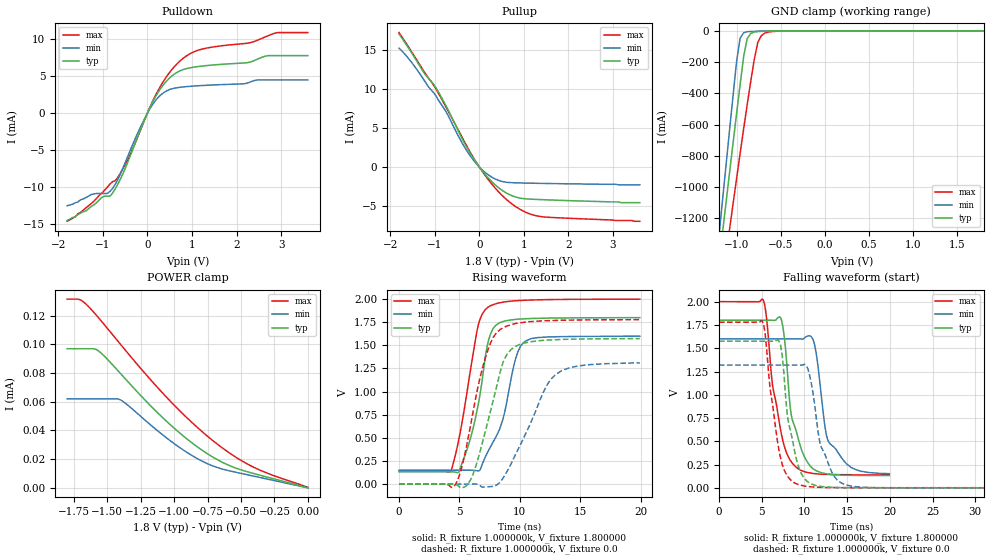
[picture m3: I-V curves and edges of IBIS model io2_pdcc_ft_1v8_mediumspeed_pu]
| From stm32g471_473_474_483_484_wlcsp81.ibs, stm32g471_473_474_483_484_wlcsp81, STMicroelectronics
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|   Model io2_pdcc_ft_1v8_mediumspeed_pu
[Model]  io2_pdcc_ft_1v8_mediumspeed_pu
Model_type I/O
Polarity   Non-Inverting
Enable   Active-Low
Vinl =   0.540000V
Vinh =   1.260000V
Vmeas =  0.900000V
Cref =   50.000000pF
Rref =   100.000000M
Vref =   0.0V
C_comp   4.367000pF   3.639100pF   5.105000pF
[Temperature Range]   25.000000   -40.000000   0.125000k
[Pullup Reference]   1.800000V   1.600000V   2.000000V
[Pulldown Reference]   0.0V   0.0V   0.0V
[POWER Clamp Reference]   1.800000V   1.600000V   2.000000V
[GND Clamp Reference]   0.0V   0.0V   0.0V
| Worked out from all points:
|   slope of the pulldown table from 0 to 0.27 V, typ, clamps not added: 87.5 ohm
|   slope of the pullup table from 0 to 0.27 V, typ, clamps not added: 147 ohm
|   GND clamp passes 1 mA (typ) near -0.58 V on its own axis
|   rising waveform, R_fixture 1.000000k, V_fixture 1.800000: 20-80 % time 1.41ns typ, 1.83ns min, 1.42ns max; typ from 0.134 V to 1.8 V
|   rising waveform, R_fixture 1.000000k, V_fixture 0.0: 20-80 % time 1.85ns typ, 2.73ns min, 1.79ns max; typ from 0.003 V to 1.57 V
|   falling waveform, R_fixture 1.000000k, V_fixture 1.800000: 20-80 % time 1.66ns typ, 1.82ns min, 1.69ns max; typ from 1.8 V to 0.135 V
|   falling waveform, R_fixture 1.000000k, V_fixture 0.0: 20-80 % time 1.48ns typ, 1.85ns min, 1.49ns max; typ from 1.57 V to 0.003 V
[Pulldown]
|Voltage   I(typ)   I(min)   I(max)
-1.8V     -14.5mA    -12.5mA    -14.6mA
-1.2V     -12.4mA    -10.9mA    -11.9mA
-900mV    -11.21mA   -10.84mA   -10mA
-780mV    -10.79mA   -10.16mA   -9.24mA
-480mV    -7.221mA   -6.409mA   -6.723mA
60mV      806.2uA    646.5uA    843.8uA
300mV     3.356mA    2.463mA    3.703mA
600mV     5.259mA    3.369mA    6.249mA
1.2V      6.348mA    3.729mA    8.613mA
2.28V     6.865mA    4.146mA    9.489mA
2.88V     7.774mA    4.487mA    10.84mA
3.6V      7.774mA    4.487mA    10.89mA
[Pullup]
|Voltage   I(typ)   I(min)   I(max)
-1.8V     17.12mA    15.3mA     17.31mA
-1.56V    15.09mA    13.78mA    15.21mA
-1.26V    12.29mA    11.38mA    12.49mA
-960mV    10.09mA    9.035mA    9.929mA
-720mV    7.582mA    6.864mA    7.438mA
-360mV    3.374mA    2.844mA    3.538mA
-120mV    1.005mA    795.6uA    1.089mA
180mV     -1.289mA   -926.4uA   -1.468mA
480mV     -2.883mA   -1.823mA   -3.482mA
900mV     -3.994mA   -2.057mA   -5.412mA
1.32V     -4.191mA   -2.109mA   -6.335mA
3.6V      -4.6mA     -2.3mA     -7mA
[GND_clamp]
|Voltage   I(typ)   I(min)   I(max)
-1.8V     -4.43A     -4.747A    -4.297A
-1.2V     -1.489A    -1.316A    -1.768A
-1.16V    -1.295A    -1.089A    -1.601A
-1.12V    -1.102A    -863.2mA   -1.436A
-1.08V    -909.8mA   -638.7mA   -1.271A
-1V       -530.7mA   -197.2mA   -945.5mA
-960mV    -345.6mA   -47.17mA   -785.2mA
-920mV    -166mA     -12.66mA   -627.5mA
-880mV    -50.53mA   -5.875mA   -473.7mA
-760mV    -4.783mA   -2.396mA   -75.32mA
-680mV    -2.529mA   -1.097mA   -14.51mA
1.8V      0A         0A         305.1nA
[POWER_clamp]
|Voltage   I(typ)   I(min)   I(max)
-1.8V     96.87uA    61.96uA    131.4uA
-1.7V     96.87uA    61.96uA    130.9uA
-1.58V    96.27uA    61.96uA    120uA
-1.52V    91.51uA    61.96uA    113.4uA
-1.4V     79.51uA    61.23uA    99.84uA
-1.18V    57.56uA    44.16uA    75.7uA
-1V       41.57uA    30.8uA     57.62uA
-820mV    28.11uA    20.04uA    41.55uA
-680mV    19.79uA    14.23uA    30.67uA
-560mV    14.52uA    11.29uA    22.65uA
-400mV    9.851uA    8.07uA     14.13uA
0V        0A         0A         360.1nA
[Ramp]
| variable   typ   min   max
dV/dt_r  1.06445/1.78033n   0.94226/2.15921n   1.18375/1.72341n
dV/dt_f  1.07041/1.79699n   0.94990/1.80863n   1.18921/1.90000n
R_load = 10.000000k
[Rising Waveform]
R_fixture= 1.000000k
V_fixture= 1.800000
V_fixture_min= 1.600000
V_fixture_max= 2.000000
|time   V(typ)   V(min)   V(max)
0s        134.3mV    151.7mV    142.3mV
4.324ns   134.2mV    151.7mV    152mV
4.965ns   137mV      151.7mV    492.2mV
5.886ns   482.3mV    151.5mV    1.207V
6.647ns   923.7mV    147.6mV    1.758V
7.367ns   1.53V      353.2mV    1.91V
8.328ns   1.742V     595.7mV    1.957V
9.65ns    1.778V     1.353V     1.98V
10.49ns   1.786V     1.545V     1.986V
19.94ns   1.798V     1.598V     1.998V
[Rising Waveform]
R_fixture= 1.000000k
V_fixture= 0.0
V_fixture_min= 0.0
V_fixture_max= 0.0
|time   V(typ)   V(min)   V(max)
0s        2.926mV    2.562mV    3.939mV
4.645ns   2.186mV    2.558mV    -6.058mV
5.285ns   -34.57mV   2.546mV    230.9mV
6.086ns   93.87mV    3.07mV     749.1mV
7.327ns   662.7mV    -26.7mV    1.436V
8.408ns   1.227V     29.62mV    1.673V
9.65ns    1.489V     320.5mV    1.735V
12.01ns   1.554V     1.01V      1.764V
12.97ns   1.56V      1.184V     1.768V
19.94ns   1.572V     1.31V      1.776V
[Falling Waveform]
R_fixture= 1.000000k
V_fixture= 1.800000
V_fixture_min= 1.600000
V_fixture_max= 2.000000
|time   V(typ)   V(min)   V(max)
0s        1.8V       1.6V       2V
5.205ns   1.8V       1.6V       2.013V
6.286ns   1.8V       1.6V       1.096V
7.327ns   1.8V       1.6V       574.1mV
8.649ns   715.6mV    1.6V       260.2mV
11.01ns   207.9mV    1.595V     156.8mV
12.45ns   155.4mV    633.6mV    147.7mV
12.93ns   148.5mV    483.2mV    145.9mV
15.5ns    136.6mV    220.8mV    143.3mV
19.94ns   134.8mV    154.9mV    142.8mV
[Falling Waveform]
R_fixture= 1.000000k
V_fixture= 0.0
V_fixture_min= 0.0
V_fixture_max= 0.0
|time   V(typ)   V(min)   V(max)
0s        1.575V     1.32V      1.779V
5.205ns   1.575V     1.32V      1.767V
7.007ns   1.581V     1.32V      416.7mV
7.407ns   1.426V     1.32V      255.3mV
8.208ns   674.9mV    1.32V      106.4mV
10.01ns   102.1mV    1.328V     22.46mV
10.81ns   45.07mV    1.126V     13.46mV
12.01ns   16.93mV    433.2mV    8.161mV
15.42ns   4.18mV     22.65mV    4.685mV
99.7ns    2.966mV    2.611mV    3.978mV
